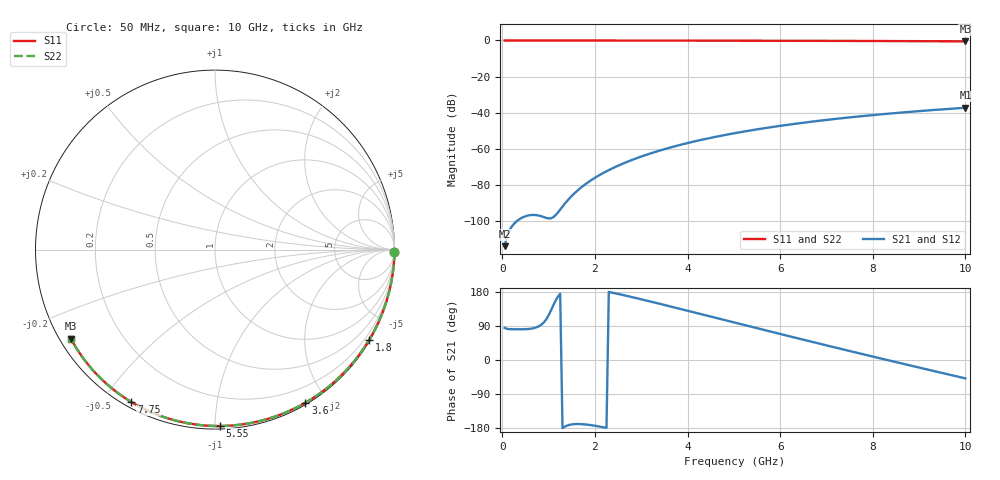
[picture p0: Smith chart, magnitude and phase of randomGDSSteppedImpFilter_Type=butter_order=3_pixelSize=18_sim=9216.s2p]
! freq	dB(S11)	phase(S11)	dB(S12)	phase(S12)
!  dB(S21)	phase(S21)	dB(S22)	phase(S22)
!S-par simulation data
#  GHz  S  DB  R 50
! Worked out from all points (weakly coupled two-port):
!   200 points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, 50 MHz to 10 GHz, reference 50 ohm
!   highest |S21| = -37.26 dB at 10 GHz (marker M1); lowest = -113.8 dB at 50 MHz (marker M2)
!   lowest |S11| = -0.5 dB at 10 GHz (marker M3), VSWR 34.65, Z = 1.56 - j14.2 ohm
!   |S11| at or under -10 dB: nowhere
!   |S22| runs from -0.5 to 0.0 dB; largest |S21 - S12| = 0
!   S11 on the Smith chart (normalised r, x): 50 MHz: open; 1.8 GHz: 0.03, -3.67; 3.6 GHz: 0.02, -1.75; 5.55 GHz: 0.02, -1.03; 7.75 GHz: 0.02, -0.59; 10 GHz: 0.03, -0.28
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0.05  -0.00 -0.9  -113.81 84.9  -113.81 84.9  -0.00 -0.9
0.45  -0.01 -7.7  -97.75 81.2  -97.75 81.2  -0.01 -7.7
0.9  -0.02 -15.4  -97.74 99.6  -97.74 99.6  -0.02 -15.4
1.3  -0.03 -22.1  -91.90 -179.8  -91.90 -179.8  -0.03 -22.1
1.75  -0.04 -29.7  -80.37 -169.6  -80.37 -169.6  -0.04 -29.7
1.8  -0.04 -30.5  -79.40 -170.2  -79.40 -170.2  -0.04 -30.5
1.95  -0.04 -33.0  -76.78 -172.5  -76.78 -172.5  -0.04 -33.0
2.1  -0.05 -35.4  -74.46 -175.6  -74.46 -175.6  -0.05 -35.4
2.3  -0.05 -38.7  -71.72 179.7  -71.72 179.7  -0.05 -38.7
2.5  -0.05 -42.0  -69.29 174.4  -69.29 174.4  -0.05 -42.0
2.9  -0.06 -48.4  -65.14 163.2  -65.14 163.2  -0.06 -48.4
3.4  -0.08 -56.3  -60.90 148.3  -60.90 148.3  -0.08 -56.3
3.6  -0.08 -59.4  -59.42 142.2  -59.42 142.2  -0.08 -59.4
4.3  -0.10 -70.1  -54.98 120.8  -54.98 120.8  -0.10 -70.1
5.05  -0.13 -81.3  -51.15 97.7  -51.15 97.7  -0.13 -81.3
5.55  -0.15 -88.5  -48.98 82.4  -48.98 82.4  -0.15 -88.5
6.1  -0.17 -96.3  -46.89 65.7  -46.89 65.7  -0.17 -96.3
6.7  -0.20 -104.6  -44.87 47.6  -44.87 47.6  -0.20 -104.6
7.75  -0.28 -118.7  -41.91 16.4  -41.91 16.4  -0.28 -118.7
8.35  -0.33 -126.6  -40.47 -1.2  -40.47 -1.2  -0.33 -126.6
9.2  -0.41 -137.8  -38.69 -25.7  -38.69 -25.7  -0.41 -137.8
10  -0.50 -148.3  -37.26 -48.5  -37.26 -48.5  -0.50 -148.3
